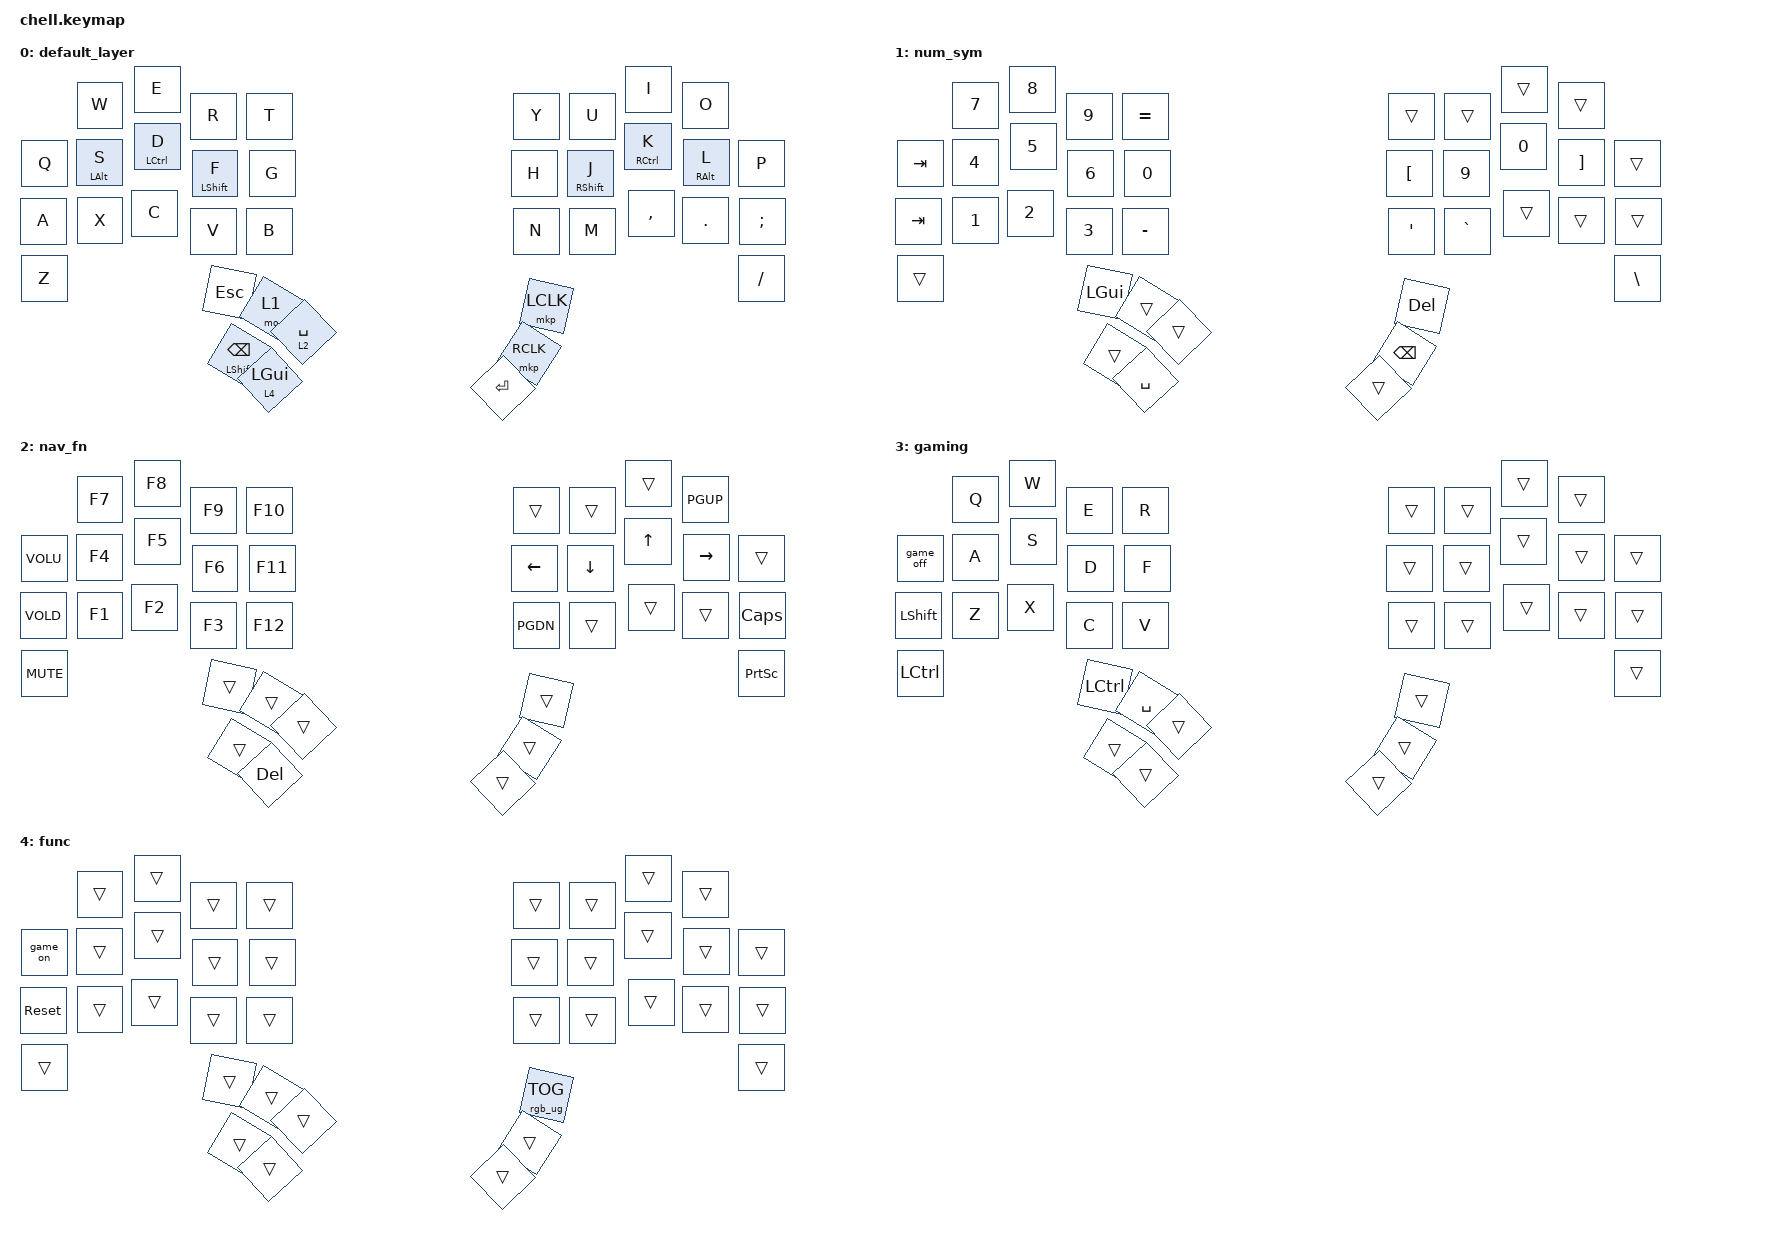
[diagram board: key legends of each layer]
#include <behaviors.dtsi>
#include <dt-bindings/zmk/keys.h>
#include <dt-bindings/zmk/pointing.h>
#include <dt-bindings/zmk/reset.h>
#include <dt-bindings/zmk/rgb.h>

/ {
    behaviors {
        hm_d: homerow_mod_d {
            compatible = "zmk,behavior-hold-tap";
            #binding-cells = <2>;
            tapping-term-ms = <170>;
            flavor = "balanced";
            bindings = <&kp>, <&kp>;
        };
        hm_f: homerow_mod_f {
            compatible = "zmk,behavior-hold-tap";
            #binding-cells = <2>;
            tapping-term-ms = <100>;
            flavor = "balanced";
            bindings = <&kp>, <&kp>;
        };
        hm_j: homerow_mod_j {
            compatible = "zmk,behavior-hold-tap";
            #binding-cells = <2>;
            tapping-term-ms = <100>;
            flavor = "balanced";
            bindings = <&kp>, <&kp>;
        };
        hm_k: homerow_mod_k {
            compatible = "zmk,behavior-hold-tap";
            #binding-cells = <2>;
            tapping-term-ms = <170>;
            flavor = "balanced";
            bindings = <&kp>, <&kp>;
        };
        hm_s: homerow_mod_s {
            compatible = "zmk,behavior-hold-tap";
            #binding-cells = <2>;
            tapping-term-ms = <170>;
            flavor = "balanced";
            bindings = <&kp>, <&kp>;
        };
        hm_l: homerow_mod_l {
            compatible = "zmk,behavior-hold-tap";
            #binding-cells = <2>;
            tapping-term-ms = <170>;
            flavor = "balanced";
            bindings = <&kp>, <&kp>;
        };
        tm_3: layer_tap_3 {
            compatible = "zmk,behavior-hold-tap";
            #binding-cells = <2>;
            tapping-term-ms = <170>;
            flavor = "hold-preferred";
            bindings = <&mo>, <&kp>;
        };
        tm_4: layer_tap_4 {
            compatible = "zmk,behavior-hold-tap";
            #binding-cells = <2>;
            tapping-term-ms = <200>;
            flavor = "hold-preferred";
            bindings = <&kp>, <&kp>;
        };

        /* Macro: enter gaming layer and set both sides green */
        game_on: game_on {
            compatible = "zmk,behavior-macro";
            #binding-cells = <0>;
            bindings = <&rgb_ug RGB_COLOR_HSB(120, 100, 40)>, <&tog 3>;
        };

        /* Macro: exit gaming layer back to default */
        game_off: game_off {
            compatible = "zmk,behavior-macro";
            #binding-cells = <0>;
            bindings = <&to 0>;
        };

        /* Macro: set both sides red (manual low battery indicator) */
        rgb_red: rgb_red {
            compatible = "zmk,behavior-macro";
            #binding-cells = <0>;
            bindings = <&rgb_ug RGB_COLOR_HSB(0, 100, 40)>;
        };
    };

    /* Combo: left click + right click = middle click (scroll wheel click) */
    combos {
        compatible = "zmk,combos";
        mouse_middle_combo {
            timeout-ms = <50>;
            key-positions = <35 36>;
            bindings = <&mkp MCLK>;
        };
    };

    keymap {
        compatible = "zmk,keymap";

        /* Layer 0: Default typing
         * Mapped from spartan_mittns layer 0, dropping far left/right columns.
         *
         *  Q     W     E     R     T        Y     U     I     O     P
         *  HM_A  HM_S  HM_D  HM_F  G        H     HM_J  HM_K  HM_L  ;
         *  Z     X     C     V     B        N     M     ,     .     /
         *
         *  Left thumbs (5):  Esc  LT1-Spc  MO2  MO2  LT1-Bsp
         *  Right thumbs (3): LCLK  RCLK  Enter
         */
        default_layer {
            bindings = <
                &kp Q      &kp W      &kp E       &kp R       &kp T        &kp Y    &kp U      &kp I      &kp O      &kp P
                &kp A      &hm_s LALT S &hm_d LCTL D &hm_f LSHFT F &kp G  &kp H    &hm_j RSHFT J &hm_k RCTL K &hm_l RALT L &kp SEMI
                &kp Z      &kp X      &kp C       &kp V       &kp B        &kp N    &kp M      &kp COMMA  &kp DOT    &kp SLASH
                &kp ESC    &mo 1      &tm_3 2 SPACE &tm_4 LSHFT BSPC         &lt 4 LGUI   &mkp LCLK &mkp RCLK &kp ENTER
            >;
        };

        /* Layer 1: Numbers and symbols
         *
         *  Tab   7     8     9     =        _     _     _     _     _
         *  Tab   4     5     6     0        [     9     0     ]     _
         *  _     1     2     3     -        '     `     _     _     \
         *
         *  Left thumbs:  GUI  _  _  Del  Spc
         *  Right thumbs: _  _  _
         */
        num_sym {
            bindings = <
                &kp TAB    &kp N7     &kp N8     &kp N9     &kp EQUAL    &trans    &trans    &trans    &trans    &trans
                &kp TAB    &kp N4     &kp N5     &kp N6     &kp N0       &kp LBKT  &kp N9    &kp N0    &kp RBKT  &trans
                &trans     &kp N1     &kp N2     &kp N3     &kp MINUS    &kp SQT   &kp GRAVE &trans    &trans    &kp BSLH
                &kp LGUI   &trans     &trans     &trans     &kp SPACE    &kp DEL    &kp BSPC    &trans
            >;
        };

        /* Layer 2: Navigation and function keys
         * Mapped from spartan_mittns layer 2, scooting far column keys inward.
         *
         *  Vol+  F7    F8    F9    F10      _      _      _      PgUp   _
         *  Vol-  F4    F5    F6    F11      Left   Down   Up     Right  Caps
         *  Mute  F1    F2    F3    F12      PgDn   _      _      _      Pscr
         *
         *  Left thumbs:  _  _  _  _  _
         *  Right thumbs: _  _  _
         */
        nav_fn {
            bindings = <
                &kp VOLU   &kp F7     &kp F8     &kp F9     &kp F10      &trans    &trans    &trans    &kp PGUP   &trans
                &kp VOLD   &kp F4     &kp F5     &kp F6     &kp F11      &kp LEFT  &kp DOWN  &kp UP    &kp RIGHT  &kp CAPS
                &kp C_MUTE &kp F1     &kp F2     &kp F3     &kp F12      &kp PGDN  &trans    &trans    &trans     &kp PSCRN
                &trans     &trans     &trans     &trans     &kp DEL      &trans    &trans    &trans
            >;
        };

        /* Layer 3: Gaming (WASD shifted)
         * Mapped from spartan_mittns layer 3, dropping far left/right columns.
         * Press Game (top-left) to exit back to default layer and restore RGB.
         *
         *  Game  W     E     R     _        _  _  _  _  _
         *  LSFT  A     S     D     F        _  _  _  _  _
         *  LCTL  Z     X     C     V        _  _  _  _  _
         *
         *  Left thumbs:  LCTL  Spc  _  _  _
         *  Right thumbs: _  _  _
         */
        gaming {
            bindings = <
                &game_off  &kp Q      &kp W      &kp E      &kp R        &trans    &trans    &trans    &trans    &trans
                &kp LSHFT  &kp A      &kp S      &kp D      &kp F        &trans    &trans    &trans    &trans    &trans
                &kp LCTRL  &kp Z      &kp X      &kp C      &kp V        &trans    &trans    &trans    &trans    &trans
                &kp LCTRL  &kp SPACE  &trans     &trans     &trans       &trans    &trans    &trans
            >;
        };

        /* Layer 4: Function layer
         * Toggles gaming layer (sets RGB green), reboots, toggles underglow.
         *
         *  Game  _     _     _     _        _  _  _  _  _
         *  Reset _     _     _     _        _  _  _  _  _
         *  _     _     _     _     _        _  _  _  _  _
         *
         *  Left thumbs:  _  _  _  _  _
         *  Right thumbs: RGB_TOG  _  _
         */
        func {
            bindings = <
                &game_on   &trans     &trans     &trans     &trans       &trans    &trans    &trans    &trans    &trans
                &sys_reset &trans     &trans     &trans     &trans       &trans    &trans    &trans    &trans    &trans
                &trans     &trans     &trans     &trans     &trans       &trans    &trans    &trans    &trans    &trans
                &trans     &trans     &trans     &trans     &trans       &rgb_ug RGB_TOG &trans &trans
            >;
        };
    };
};



